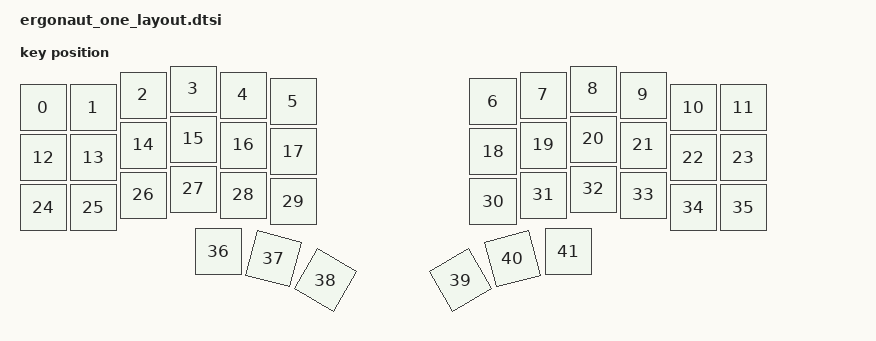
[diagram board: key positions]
#include <physical_layouts.dtsi>

/ {
    ergonaut_one_layout: ergonaut_one_layout {
        compatible = "zmk,physical-layout";
        display-name = "Ergonaut One";

        keys  //                     w   h    x    y     rot    rx    ry
            = <&key_physical_attrs 100 100    0   37       0     0     0>
            , <&key_physical_attrs 100 100  100   37       0     0     0>
            , <&key_physical_attrs 100 100  200   12       0     0     0>
            , <&key_physical_attrs 100 100  300    0       0     0     0>
            , <&key_physical_attrs 100 100  400   12       0     0     0>
            , <&key_physical_attrs 100 100  500   25       0     0     0>
            , <&key_physical_attrs 100 100  900   25       0     0     0>
            , <&key_physical_attrs 100 100 1000   12       0     0     0>
            , <&key_physical_attrs 100 100 1100    0       0     0     0>
            , <&key_physical_attrs 100 100 1200   12       0     0     0>
            , <&key_physical_attrs 100 100 1300   37       0     0     0>
            , <&key_physical_attrs 100 100 1400   37       0     0     0>
            , <&key_physical_attrs 100 100    0  137       0     0     0>
            , <&key_physical_attrs 100 100  100  137       0     0     0>
            , <&key_physical_attrs 100 100  200  112       0     0     0>
            , <&key_physical_attrs 100 100  300  100       0     0     0>
            , <&key_physical_attrs 100 100  400  112       0     0     0>
            , <&key_physical_attrs 100 100  500  125       0     0     0>
            , <&key_physical_attrs 100 100  900  125       0     0     0>
            , <&key_physical_attrs 100 100 1000  112       0     0     0>
            , <&key_physical_attrs 100 100 1100  100       0     0     0>
            , <&key_physical_attrs 100 100 1200  112       0     0     0>
            , <&key_physical_attrs 100 100 1300  137       0     0     0>
            , <&key_physical_attrs 100 100 1400  137       0     0     0>
            , <&key_physical_attrs 100 100    0  237       0     0     0>
            , <&key_physical_attrs 100 100  100  237       0     0     0>
            , <&key_physical_attrs 100 100  200  212       0     0     0>
            , <&key_physical_attrs 100 100  300  200       0     0     0>
            , <&key_physical_attrs 100 100  400  212       0     0     0>
            , <&key_physical_attrs 100 100  500  225       0     0     0>
            , <&key_physical_attrs 100 100  900  225       0     0     0>
            , <&key_physical_attrs 100 100 1000  212       0     0     0>
            , <&key_physical_attrs 100 100 1100  200       0     0     0>
            , <&key_physical_attrs 100 100 1200  212       0     0     0>
            , <&key_physical_attrs 100 100 1300  237       0     0     0>
            , <&key_physical_attrs 100 100 1400  237       0     0     0>
            , <&key_physical_attrs 100 100  350  325       0     0     0>
            , <&key_physical_attrs 100 100  350  325    1500   400   805>
            , <&key_physical_attrs 100 100  350  325    3000   400   805>
            , <&key_physical_attrs 100 100 1050  325 (-3000)  1100   805>
            , <&key_physical_attrs 100 100 1050  325 (-1500)  1100   805>
            , <&key_physical_attrs 100 100 1050  325       0     0     0>
        ;
    };
};
